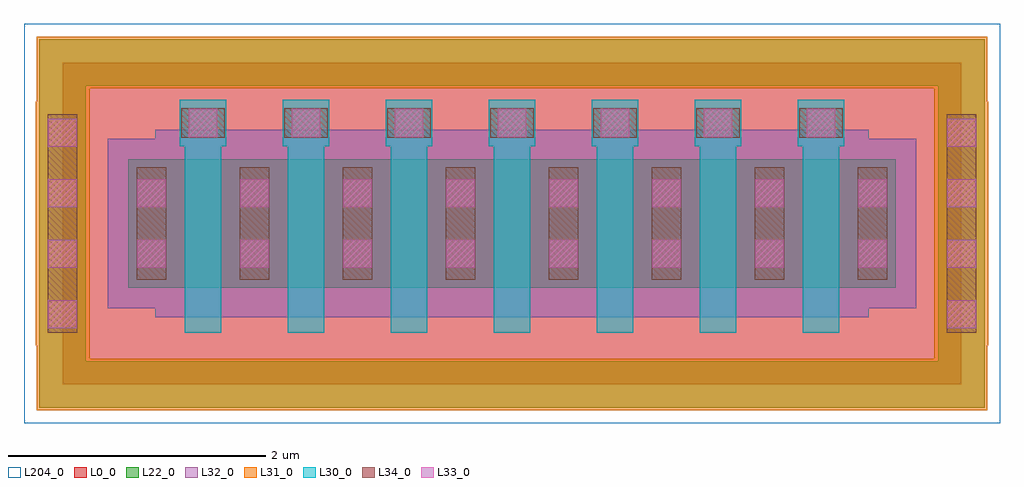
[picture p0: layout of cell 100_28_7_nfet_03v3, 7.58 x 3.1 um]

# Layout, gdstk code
import gdstk
lib = gdstk.Library(unit=1e-6, precision=1e-09)
def R(c, l, rs):  # rectangles x0, y0, x1, y1
    for r in rs: c.add(gdstk.rectangle(r[:2], r[2:], *l))
def A(c, l, x, y, w, h, nx, ny, dx, dy):  # array of equal rectangles
    R(c, l, [(x+i*dx, y+j*dy, x+i*dx+w, y+j*dy+h) for i in range(nx) for j in range(ny)])
L0_0 = (0, 0)
L22_0 = (22, 0)
L30_0 = (30, 0)
L31_0 = (31, 0)
L32_0 = (32, 0)
L33_0 = (33, 0)
L34_0 = (34, 0)
L204_0 = (204, 0)

c_100_28_7_nfet_03v3 = lib.new_cell('100_28_7_nfet_03v3')
R(c_100_28_7_nfet_03v3, L0_0, [(-3.49,-1.25,3.49,1.25)])
R(c_100_28_7_nfet_03v3, L22_0, [(-3.67,-1.43,3.67,-1.07), (-3.67,-1.07,-3.31,1.07), (3.31,-1.07,3.67,1.07), (-2.98,-0.5,2.98,0.5), (-3.67,1.07,3.67,1.43)])
A(c_100_28_7_nfet_03v3, L30_0, -2.54, -0.85, 0.28, 1.45, 7, 1, 0.8, 0)
A(c_100_28_7_nfet_03v3, L30_0, -2.58, 0.6, 0.36, 0.36, 7, 1, 0.8, 0)
R(c_100_28_7_nfet_03v3, L31_0, [(-3.69,-1.45,3.69,-1.05), (-3.69,-1.05,-3.28,-0.945), (3.28,-1.05,3.69,-0.945), (-3.7,-0.945,-3.28,0.945), (3.28,-0.945,3.7,0.945), (-3.69,0.945,-3.28,1.05), (3.28,0.945,3.69,1.05), (-3.69,1.05,3.69,1.45)])
R(c_100_28_7_nfet_03v3, L32_0, [(-2.77,-0.73,2.77,-0.66), (-3.14,-0.66,3.14,0.66), (-2.77,0.66,2.77,0.73)])
A(c_100_28_7_nfet_03v3, L33_0, -3.6, -0.815, 0.22, 0.22, 1, 4, 0, 0.47)
A(c_100_28_7_nfet_03v3, L33_0, 3.38, -0.815, 0.22, 0.22, 1, 4, 0, 0.47)
A(c_100_28_7_nfet_03v3, L33_0, -2.91, -0.345, 0.22, 0.22, 8, 2, 0.8, 0.47)
A(c_100_28_7_nfet_03v3, L33_0, -2.51, 0.67, 0.22, 0.22, 7, 1, 0.8, 0)
A(c_100_28_7_nfet_03v3, L34_0, -2.915, -0.435, 0.23, 0.87, 8, 1, 0.8, 0)
A(c_100_28_7_nfet_03v3, L34_0, -2.57, 0.665, 0.34, 0.23, 7, 1, 0.8, 0)
R(c_100_28_7_nfet_03v3, L34_0, [(-3.605,-0.85,-3.375,0.85), (3.375,-0.85,3.605,0.85)])
R(c_100_28_7_nfet_03v3, L204_0, [(-3.79,-1.55,3.79,1.55)])

lib.write_gds('100_28_7_nfet_03v3.gds')
